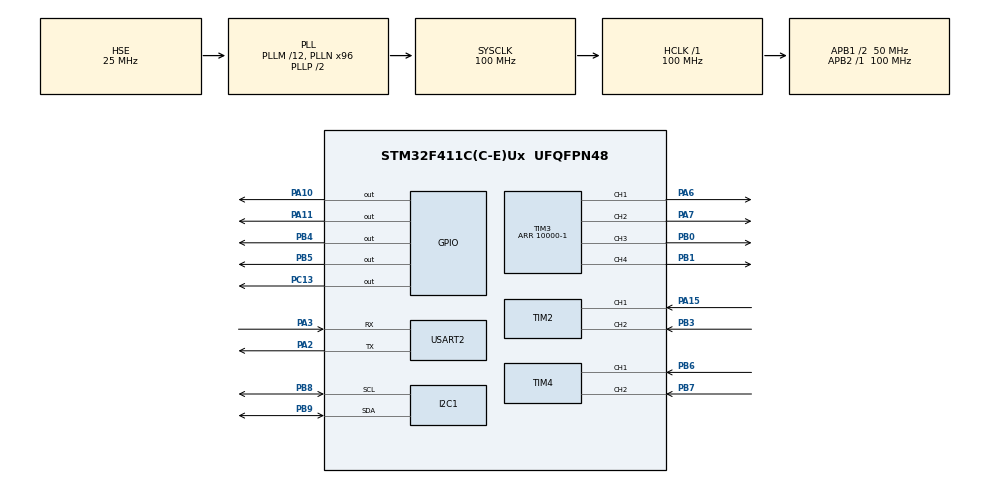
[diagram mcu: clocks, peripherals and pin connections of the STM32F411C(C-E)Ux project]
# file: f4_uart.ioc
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Dma.Request0=USART2_RX
Dma.Request1=USART2_TX
Dma.USART2_RX.0.Direction=DMA_PERIPH_TO_MEMORY
Dma.USART2_RX.0.FIFOMode=DMA_FIFOMODE_DISABLE
Dma.USART2_RX.0.Instance=DMA1_Stream5
Dma.USART2_RX.0.MemDataAlignment=DMA_MDATAALIGN_BYTE
Dma.USART2_RX.0.MemInc=DMA_MINC_ENABLE
Dma.USART2_RX.0.Mode=DMA_NORMAL
Dma.USART2_RX.0.PeriphDataAlignment=DMA_PDATAALIGN_BYTE
Dma.USART2_RX.0.PeriphInc=DMA_PINC_DISABLE
Dma.USART2_RX.0.Priority=DMA_PRIORITY_HIGH
Dma.USART2_TX.1.Direction=DMA_MEMORY_TO_PERIPH
Dma.USART2_TX.1.FIFOMode=DMA_FIFOMODE_DISABLE
Dma.USART2_TX.1.Instance=DMA1_Stream6
Dma.USART2_TX.1.MemDataAlignment=DMA_MDATAALIGN_BYTE
Dma.USART2_TX.1.MemInc=DMA_MINC_ENABLE
Dma.USART2_TX.1.Mode=DMA_NORMAL
Dma.USART2_TX.1.PeriphDataAlignment=DMA_PDATAALIGN_BYTE
Dma.USART2_TX.1.PeriphInc=DMA_PINC_DISABLE
Dma.USART2_TX.1.Priority=DMA_PRIORITY_HIGH
Mcu.Family=STM32F4
Mcu.Name=STM32F411C(C-E)Ux
Mcu.Package=UFQFPN48
NVIC.DMA1_Stream5_IRQn=true\:0\:0\:false\:false\:true\:false\:true\:true
NVIC.DMA1_Stream6_IRQn=true\:0\:0\:false\:false\:true\:false\:true\:true
NVIC.I2C1_ER_IRQn=true\:0\:0\:false\:false\:true\:true\:true\:true
NVIC.I2C1_EV_IRQn=true\:0\:0\:false\:false\:true\:true\:true\:true
NVIC.PriorityGroup=NVIC_PRIORITYGROUP_4
NVIC.TIM1_BRK_TIM9_IRQn=true\:0\:0\:false\:false\:true\:true\:true\:true
NVIC.TIM1_CC_IRQn=true\:0\:0\:false\:false\:true\:true\:true\:true
NVIC.TIM1_TRG_COM_TIM11_IRQn=true\:0\:0\:false\:false\:true\:true\:true\:true
NVIC.TIM1_UP_TIM10_IRQn=true\:0\:0\:false\:false\:true\:true\:true\:true
NVIC.TIM3_IRQn=true\:0\:0\:false\:false\:true\:true\:true\:true
NVIC.USART2_IRQn=true\:0\:0\:false\:false\:true\:true\:true\:true
PA10.Signal=GPIO_Output
PA11.Signal=GPIO_Output
PA13.Mode=Serial_Wire
PA13.Signal=SYS_JTMS-SWDIO
PA14.Mode=Serial_Wire
PA14.Signal=SYS_JTCK-SWCLK
PA15.Signal=S_TIM2_CH1_ETR
PA2.Mode=Asynchronous
PA2.Signal=USART2_TX
PA3.Mode=Asynchronous
PA3.Signal=USART2_RX
PA6.Signal=S_TIM3_CH1
PA7.Signal=S_TIM3_CH2
PB0.Signal=S_TIM3_CH3
PB1.Signal=S_TIM3_CH4
PB3.Signal=S_TIM2_CH2
PB4.Signal=GPIO_Output
PB5.Signal=GPIO_Output
PB6.Signal=S_TIM4_CH1
PB7.Signal=S_TIM4_CH2
PB8.Mode=I2C
PB8.Signal=I2C1_SCL
PB9.Mode=I2C
PB9.Signal=I2C1_SDA
PC13-ANTI_TAMP.Signal=GPIO_Output
PH0\ -\ OSC_IN.Mode=HSE-External-Oscillator
PH0\ -\ OSC_IN.Signal=RCC_OSC_IN
PH1\ -\ OSC_OUT.Mode=HSE-External-Oscillator
PH1\ -\ OSC_OUT.Signal=RCC_OSC_OUT
ProjectManager.HeapSize=0x200
ProjectManager.StackSize=0x400
ProjectManager.TargetToolchain=STM32CubeIDE
RCC.48MHZClocksFreq_Value=50000000
RCC.AHBFreq_Value=100000000
RCC.APB1CLKDivider=RCC_HCLK_DIV2
RCC.APB1Freq_Value=50000000
RCC.APB1TimFreq_Value=100000000
RCC.APB2Freq_Value=100000000
RCC.APB2TimFreq_Value=100000000
RCC.CortexFreq_Value=100000000
RCC.HCLKFreq_Value=100000000
RCC.HSE_VALUE=25000000
RCC.HSI_VALUE=16000000
RCC.LSE_VALUE=32768
RCC.PLLM=12
RCC.PLLN=96
RCC.PLLSourceVirtual=RCC_PLLSOURCE_HSE
RCC.SYSCLKFreq_VALUE=100000000
RCC.SYSCLKSource=RCC_SYSCLKSOURCE_PLLCLK
RCC.VCOOutputFreq_Value=200000000
SH.S_TIM2_CH1_ETR.0=TIM2_CH1,Encoder_Interface
SH.S_TIM2_CH2.0=TIM2_CH2,Encoder_Interface
SH.S_TIM3_CH1.0=TIM3_CH1,PWM Generation1 CH1
SH.S_TIM3_CH2.0=TIM3_CH2,PWM Generation2 CH2
SH.S_TIM3_CH3.0=TIM3_CH3,PWM Generation3 CH3
SH.S_TIM3_CH4.0=TIM3_CH4,PWM Generation4 CH4
SH.S_TIM4_CH1.0=TIM4_CH1,Encoder_Interface
SH.S_TIM4_CH2.0=TIM4_CH2,Encoder_Interface
TIM1.Period=1000-1
TIM1.Prescaler=100-1
TIM3.Channel-PWM\ Generation1\ CH1=TIM_CHANNEL_1
TIM3.Channel-PWM\ Generation2\ CH2=TIM_CHANNEL_2
TIM3.Channel-PWM\ Generation3\ CH3=TIM_CHANNEL_3
TIM3.Channel-PWM\ Generation4\ CH4=TIM_CHANNEL_4
TIM3.Period=10000-1
USART2.VirtualMode=VM_ASYNC
VP_TIM1_VS_ClockSourceINT.Mode=Internal
board=custom

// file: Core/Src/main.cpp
/* USER CODE BEGIN Header */
/**
  ******************************************************************************
  * @file           : main.c
  * @brief          : Main program body
  ******************************************************************************
  * @attention
  *
  * Copyright (c) 2024 STMicroelectronics.
  * All rights reserved.
  *
  * This software is licensed under terms that can be found in the LICENSE file
  * in the root directory of this software component.
  * If no LICENSE file comes with this software, it is provided AS-IS.
  *
  ******************************************************************************
  */
/* USER CODE END Header */
#include "main.h"

/* USER CODE BEGIN Includes */
#include "stdio.h"
#include <cstring>
#include  <cmath>
//#include <Telega.h>
#include  <AutoPilot.h>

/* USER CODE END Includes */

/* USER CODE BEGIN PD */
uint8_t uart_rx_buffer[RX_BUFFER_SIZE];

double errorAngle;
double currentAngle = 0;
float minDistance = 1000;
float dist[30];

float l = 0;
float r = 0;
bool  startBit;
uint8_t  quality;
int16_t encL = 0;
int16_t encR = 0;

int16_t red = 0;
int16_t blue = 0;
int16_t green = 0;
int16_t white = 0;
/* USER CODE END PD */

I2C_HandleTypeDef hi2c1;

TIM_HandleTypeDef htim1;
TIM_HandleTypeDef htim2;
TIM_HandleTypeDef htim3;
TIM_HandleTypeDef htim4;

UART_HandleTypeDef huart2;
DMA_HandleTypeDef hdma_usart2_rx;
DMA_HandleTypeDef hdma_usart2_tx;

void SystemClock_Config(void);
static void MX_GPIO_Init(void);
static void MX_DMA_Init(void);
static void MX_USART2_UART_Init(void);
static void MX_I2C1_Init(void);
static void MX_TIM2_Init(void);
static void MX_TIM4_Init(void);
static void MX_TIM3_Init(void);
static void MX_TIM1_Init(void);

/* USER CODE BEGIN 0 */

AutoPilot pilot;

void HAL_TIM_PeriodElapsedCallback(TIM_HandleTypeDef *htim)
{
    if (htim->Instance == TIM1) // Проверяем, что прерывание от TIM3
    {
        // Действия при срабатывании прерывания
    	 pilot.handler();

    }
}

void HAL_UART_ErrorCallback(UART_HandleTypeDef *huart) {
    if (huart == &huart2) {
        __HAL_UART_CLEAR_OREFLAG(huart); // Очистка переполнения
        HAL_UART_Receive_IT(huart, uart_rx_buffer, 1); // Перезапуск приёма
    }
}
void HAL_UART_RxCpltCallback(UART_HandleTypeDef *huart) {

		if (huart == &huart2) {
			// Обработать полученный байт
			uint8_t received_byte = uart_rx_buffer[0];

			// Вызываем обработку полученного байта из waitPoint
	        pilot.onReceive(received_byte);

			// Перезапускаем прерывание для приёма следующего байта
			HAL_UART_Receive_IT(&huart2, uart_rx_buffer, 1);
		}
}

void init(){
	  //питание для левого энкодера
	  HAL_GPIO_WritePin(GPIOA, GPIO_PIN_10, GPIO_PIN_RESET);
	  HAL_GPIO_WritePin(GPIOA, GPIO_PIN_11, GPIO_PIN_SET);

	  //питание для правого энкодера
	  HAL_GPIO_WritePin(GPIOB, GPIO_PIN_4, GPIO_PIN_RESET);
	  HAL_GPIO_WritePin(GPIOB, GPIO_PIN_5, GPIO_PIN_SET);

	  HAL_TIM_PWM_Start(&htim3, TIM_CHANNEL_1);
	  HAL_TIM_PWM_Start(&htim3, TIM_CHANNEL_2);
	  HAL_TIM_PWM_Start(&htim3, TIM_CHANNEL_3);
	  HAL_TIM_PWM_Start(&htim3, TIM_CHANNEL_4);

	  HAL_TIM_Encoder_Start(&htim2, TIM_CHANNEL_1);

	  HAL_TIM_Encoder_Start(&htim4, TIM_CHANNEL_1);

	  HAL_TIM_Base_Start_IT(&htim1);

}
/* USER CODE END 0 */

int main(void)
{

  /* MCU Configuration--------------------------------------------------------*/

  /* Reset of all peripherals, Initializes the Flash interface and the Systick. */
  HAL_Init();

  /* Configure the system clock */
  SystemClock_Config();

  /* Initialize all configured peripherals */
  MX_GPIO_Init();
  MX_DMA_Init();
  MX_USART2_UART_Init();
  MX_I2C1_Init();
  MX_TIM2_Init();
  MX_TIM4_Init();
  MX_TIM3_Init();
  MX_TIM1_Init();
  /* USER CODE BEGIN 2 */
  HAL_Delay(100);
  init();
  HAL_Delay(100);
  pilot.init();

  HAL_UART_Receive_IT(&huart2, uart_rx_buffer, 1);
 // HAL_UART_Receive_IT(&huart2, uart_rx_buffer, 1);
  /* USER CODE END 2 */

  /* Infinite loop */
  /* USER CODE BEGIN WHILE */
  while (1)
  {

	pilot.fastCycle();

    /* USER CODE END WHILE */

  }
}

void SystemClock_Config(void)
{
  RCC_OscInitTypeDef RCC_OscInitStruct = {0};
  RCC_ClkInitTypeDef RCC_ClkInitStruct = {0};

  /** Configure the main internal regulator output voltage
  */
  __HAL_RCC_PWR_CLK_ENABLE();
  __HAL_PWR_VOLTAGESCALING_CONFIG(PWR_REGULATOR_VOLTAGE_SCALE1);

  /** Initializes the RCC Oscillators according to the specified parameters
  * in the RCC_OscInitTypeDef structure.
  */
  RCC_OscInitStruct.OscillatorType = RCC_OSCILLATORTYPE_HSE;
  RCC_OscInitStruct.HSEState = RCC_HSE_ON;
  RCC_OscInitStruct.PLL.PLLState = RCC_PLL_ON;
  RCC_OscInitStruct.PLL.PLLSource = RCC_PLLSOURCE_HSE;
  RCC_OscInitStruct.PLL.PLLM = 12;
  RCC_OscInitStruct.PLL.PLLN = 96;
  RCC_OscInitStruct.PLL.PLLP = RCC_PLLP_DIV2;
  RCC_OscInitStruct.PLL.PLLQ = 4;
  if (HAL_RCC_OscConfig(&RCC_OscInitStruct) != HAL_OK)
  {
    Error_Handler();
  }

  /** Initializes the CPU, AHB and APB buses clocks
  */
  RCC_ClkInitStruct.ClockType = RCC_CLOCKTYPE_HCLK|RCC_CLOCKTYPE_SYSCLK
                              |RCC_CLOCKTYPE_PCLK1|RCC_CLOCKTYPE_PCLK2;
  RCC_ClkInitStruct.SYSCLKSource = RCC_SYSCLKSOURCE_PLLCLK;
  RCC_ClkInitStruct.AHBCLKDivider = RCC_SYSCLK_DIV1;
  RCC_ClkInitStruct.APB1CLKDivider = RCC_HCLK_DIV2;
  RCC_ClkInitStruct.APB2CLKDivider = RCC_HCLK_DIV1;

  if (HAL_RCC_ClockConfig(&RCC_ClkInitStruct, FLASH_LATENCY_3) != HAL_OK)
  {
    Error_Handler();
  }
}

static void MX_I2C1_Init(void)
{

  hi2c1.Instance = I2C1;
  hi2c1.Init.ClockSpeed = 100000;
  hi2c1.Init.DutyCycle = I2C_DUTYCYCLE_2;
  hi2c1.Init.OwnAddress1 = 0;
  hi2c1.Init.AddressingMode = I2C_ADDRESSINGMODE_7BIT;
  hi2c1.Init.DualAddressMode = I2C_DUALADDRESS_DISABLE;
  hi2c1.Init.OwnAddress2 = 0;
  hi2c1.Init.GeneralCallMode = I2C_GENERALCALL_DISABLE;
  hi2c1.Init.NoStretchMode = I2C_NOSTRETCH_DISABLE;
  if (HAL_I2C_Init(&hi2c1) != HAL_OK)
  {
    Error_Handler();
  }

}

static void MX_TIM1_Init(void)
{

  TIM_ClockConfigTypeDef sClockSourceConfig = {0};
  TIM_MasterConfigTypeDef sMasterConfig = {0};

  htim1.Instance = TIM1;
  htim1.Init.Prescaler = 100-1;
  htim1.Init.CounterMode = TIM_COUNTERMODE_UP;
  htim1.Init.Period = 1000-1;
  htim1.Init.ClockDivision = TIM_CLOCKDIVISION_DIV1;
  htim1.Init.RepetitionCounter = 0;
  htim1.Init.AutoReloadPreload = TIM_AUTORELOAD_PRELOAD_DISABLE;
  if (HAL_TIM_Base_Init(&htim1) != HAL_OK)
  {
    Error_Handler();
  }
  sClockSourceConfig.ClockSource = TIM_CLOCKSOURCE_INTERNAL;
  if (HAL_TIM_ConfigClockSource(&htim1, &sClockSourceConfig) != HAL_OK)
  {
    Error_Handler();
  }
  sMasterConfig.MasterOutputTrigger = TIM_TRGO_RESET;
  sMasterConfig.MasterSlaveMode = TIM_MASTERSLAVEMODE_DISABLE;
  if (HAL_TIMEx_MasterConfigSynchronization(&htim1, &sMasterConfig) != HAL_OK)
  {
    Error_Handler();
  }

}

static void MX_TIM2_Init(void)
{

  TIM_Encoder_InitTypeDef sConfig = {0};
  TIM_MasterConfigTypeDef sMasterConfig = {0};

  htim2.Instance = TIM2;
  htim2.Init.Prescaler = 0;
  htim2.Init.CounterMode = TIM_COUNTERMODE_UP;
  htim2.Init.Period = 4294967295;
  htim2.Init.ClockDivision = TIM_CLOCKDIVISION_DIV1;
  htim2.Init.AutoReloadPreload = TIM_AUTORELOAD_PRELOAD_DISABLE;
  sConfig.EncoderMode = TIM_ENCODERMODE_TI1;
  sConfig.IC1Polarity = TIM_ICPOLARITY_RISING;
  sConfig.IC1Selection = TIM_ICSELECTION_DIRECTTI;
  sConfig.IC1Prescaler = TIM_ICPSC_DIV1;
  sConfig.IC1Filter = 0;
  sConfig.IC2Polarity = TIM_ICPOLARITY_RISING;
  sConfig.IC2Selection = TIM_ICSELECTION_DIRECTTI;
  sConfig.IC2Prescaler = TIM_ICPSC_DIV1;
  sConfig.IC2Filter = 0;
  if (HAL_TIM_Encoder_Init(&htim2, &sConfig) != HAL_OK)
  {
    Error_Handler();
  }
  sMasterConfig.MasterOutputTrigger = TIM_TRGO_RESET;
  sMasterConfig.MasterSlaveMode = TIM_MASTERSLAVEMODE_DISABLE;
  if (HAL_TIMEx_MasterConfigSynchronization(&htim2, &sMasterConfig) != HAL_OK)
  {
    Error_Handler();
  }

}

static void MX_TIM3_Init(void)
{

  TIM_MasterConfigTypeDef sMasterConfig = {0};
  TIM_OC_InitTypeDef sConfigOC = {0};

  htim3.Instance = TIM3;
  htim3.Init.Prescaler = 0;
  htim3.Init.CounterMode = TIM_COUNTERMODE_UP;
  htim3.Init.Period = 10000-1;
  htim3.Init.ClockDivision = TIM_CLOCKDIVISION_DIV1;
  htim3.Init.AutoReloadPreload = TIM_AUTORELOAD_PRELOAD_DISABLE;
  if (HAL_TIM_PWM_Init(&htim3) != HAL_OK)
  {
    Error_Handler();
  }
  sMasterConfig.MasterOutputTrigger = TIM_TRGO_RESET;
  sMasterConfig.MasterSlaveMode = TIM_MASTERSLAVEMODE_DISABLE;
  if (HAL_TIMEx_MasterConfigSynchronization(&htim3, &sMasterConfig) != HAL_OK)
  {
    Error_Handler();
  }
  sConfigOC.OCMode = TIM_OCMODE_PWM1;
  sConfigOC.Pulse = 0;
  sConfigOC.OCPolarity = TIM_OCPOLARITY_HIGH;
  sConfigOC.OCFastMode = TIM_OCFAST_DISABLE;
  if (HAL_TIM_PWM_ConfigChannel(&htim3, &sConfigOC, TIM_CHANNEL_1) != HAL_OK)
  {
    Error_Handler();
  }
  if (HAL_TIM_PWM_ConfigChannel(&htim3, &sConfigOC, TIM_CHANNEL_2) != HAL_OK)
  {
    Error_Handler();
  }
  if (HAL_TIM_PWM_ConfigChannel(&htim3, &sConfigOC, TIM_CHANNEL_3) != HAL_OK)
  {
    Error_Handler();
  }
  if (HAL_TIM_PWM_ConfigChannel(&htim3, &sConfigOC, TIM_CHANNEL_4) != HAL_OK)
  {
    Error_Handler();
  }
  HAL_TIM_MspPostInit(&htim3);

}

static void MX_TIM4_Init(void)
{

  TIM_Encoder_InitTypeDef sConfig = {0};
  TIM_MasterConfigTypeDef sMasterConfig = {0};

  htim4.Instance = TIM4;
  htim4.Init.Prescaler = 0;
  htim4.Init.CounterMode = TIM_COUNTERMODE_UP;
  htim4.Init.Period = 65535;
  htim4.Init.ClockDivision = TIM_CLOCKDIVISION_DIV1;
  htim4.Init.AutoReloadPreload = TIM_AUTORELOAD_PRELOAD_DISABLE;
  sConfig.EncoderMode = TIM_ENCODERMODE_TI1;
  sConfig.IC1Polarity = TIM_ICPOLARITY_RISING;
  sConfig.IC1Selection = TIM_ICSELECTION_DIRECTTI;
  sConfig.IC1Prescaler = TIM_ICPSC_DIV1;
  sConfig.IC1Filter = 0;
  sConfig.IC2Polarity = TIM_ICPOLARITY_RISING;
  sConfig.IC2Selection = TIM_ICSELECTION_DIRECTTI;
  sConfig.IC2Prescaler = TIM_ICPSC_DIV1;
  sConfig.IC2Filter = 0;
  if (HAL_TIM_Encoder_Init(&htim4, &sConfig) != HAL_OK)
  {
    Error_Handler();
  }
  sMasterConfig.MasterOutputTrigger = TIM_TRGO_RESET;
  sMasterConfig.MasterSlaveMode = TIM_MASTERSLAVEMODE_DISABLE;
  if (HAL_TIMEx_MasterConfigSynchronization(&htim4, &sMasterConfig) != HAL_OK)
  {
    Error_Handler();
  }

}

static void MX_USART2_UART_Init(void)
{

  huart2.Instance = USART2;
  huart2.Init.BaudRate = 115200;
  huart2.Init.WordLength = UART_WORDLENGTH_8B;
  huart2.Init.StopBits = UART_STOPBITS_1;
  huart2.Init.Parity = UART_PARITY_NONE;
  huart2.Init.Mode = UART_MODE_TX_RX;
  huart2.Init.HwFlowCtl = UART_HWCONTROL_NONE;
  huart2.Init.OverSampling = UART_OVERSAMPLING_16;
  if (HAL_UART_Init(&huart2) != HAL_OK)
  {
    Error_Handler();
  }

}

static void MX_DMA_Init(void)
{

  /* DMA controller clock enable */
  __HAL_RCC_DMA1_CLK_ENABLE();

  /* DMA interrupt init */
  /* DMA1_Stream5_IRQn interrupt configuration */
  HAL_NVIC_SetPriority(DMA1_Stream5_IRQn, 0, 0);
  HAL_NVIC_EnableIRQ(DMA1_Stream5_IRQn);
  /* DMA1_Stream6_IRQn interrupt configuration */
  HAL_NVIC_SetPriority(DMA1_Stream6_IRQn, 0, 0);
  HAL_NVIC_EnableIRQ(DMA1_Stream6_IRQn);

}

static void MX_GPIO_Init(void)
{
  GPIO_InitTypeDef GPIO_InitStruct = {0};

  /* GPIO Ports Clock Enable */
  __HAL_RCC_GPIOC_CLK_ENABLE();
  __HAL_RCC_GPIOH_CLK_ENABLE();
  __HAL_RCC_GPIOA_CLK_ENABLE();
  __HAL_RCC_GPIOB_CLK_ENABLE();

  /*Configure GPIO pin Output Level */
  HAL_GPIO_WritePin(GPIOC, GPIO_PIN_13, GPIO_PIN_RESET);

  /*Configure GPIO pin Output Level */
  HAL_GPIO_WritePin(GPIOA, GPIO_PIN_10|GPIO_PIN_11, GPIO_PIN_RESET);

  /*Configure GPIO pin Output Level */
  HAL_GPIO_WritePin(GPIOB, GPIO_PIN_4|GPIO_PIN_5, GPIO_PIN_RESET);

  /*Configure GPIO pin : PC13 */
  GPIO_InitStruct.Pin = GPIO_PIN_13;
  GPIO_InitStruct.Mode = GPIO_MODE_OUTPUT_PP;
  GPIO_InitStruct.Pull = GPIO_NOPULL;
  GPIO_InitStruct.Speed = GPIO_SPEED_FREQ_LOW;
  HAL_GPIO_Init(GPIOC, &GPIO_InitStruct);

  /*Configure GPIO pins : PA10 PA11 */
  GPIO_InitStruct.Pin = GPIO_PIN_10|GPIO_PIN_11;
  GPIO_InitStruct.Mode = GPIO_MODE_OUTPUT_PP;
  GPIO_InitStruct.Pull = GPIO_NOPULL;
  GPIO_InitStruct.Speed = GPIO_SPEED_FREQ_LOW;
  HAL_GPIO_Init(GPIOA, &GPIO_InitStruct);

  /*Configure GPIO pins : PB4 PB5 */
  GPIO_InitStruct.Pin = GPIO_PIN_4|GPIO_PIN_5;
  GPIO_InitStruct.Mode = GPIO_MODE_OUTPUT_PP;
  GPIO_InitStruct.Pull = GPIO_NOPULL;
  GPIO_InitStruct.Speed = GPIO_SPEED_FREQ_LOW;
  HAL_GPIO_Init(GPIOB, &GPIO_InitStruct);

}

void Error_Handler(void)
{
  __disable_irq();
  while (1)
  {
  }
}
